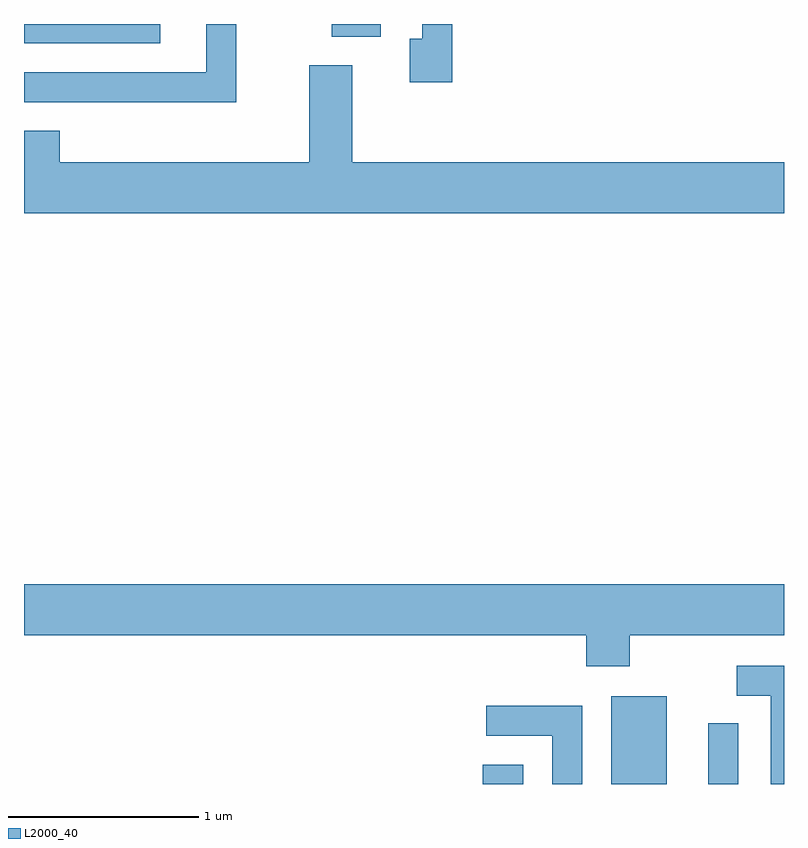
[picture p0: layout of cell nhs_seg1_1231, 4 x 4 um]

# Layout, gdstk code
import gdstk
lib = gdstk.Library(unit=1e-6, precision=1e-09)
def R(c, l, rs):  # rectangles x0, y0, x1, y1
    for r in rs: c.add(gdstk.rectangle(r[:2], r[2:], *l))
def P(c, l, *ps):  # polygons
    for p in ps: c.add(gdstk.Polygon(p, *l))
L2000_40 = (2000, 40)

nhs_seg1_1231 = lib.new_cell('nhs_seg1_1231')
R(nhs_seg1_1231, L2000_40, [(226.026,867.712,226.239,867.814), (226.701,867.712,226.994,868.174), (227.211,867.712,227.369,868.033), (223.611,871.611,224.328,871.712), (225.231,871.646,225.489,871.712)])
P(nhs_seg1_1231, L2000_40, [(224.729,871.712),(224.571,871.712),(224.571,871.459),(223.611,871.459),(223.611,871.301),(224.729,871.301)],
  [(225.864,871.712),(225.706,871.712),(225.706,871.634),(225.641,871.634),(225.641,871.406),(225.864,871.406)],
  [(227.611,870.984),(225.339,870.984),(225.339,871.494),(225.111,871.494),(225.111,870.984),(223.799,870.984),(223.799,871.149),(223.611,871.149),(223.611,870.716),(227.611,870.716)],
  [(226.799,868.496),(227.611,868.496),(227.611,868.764),(223.611,868.764),(223.611,868.496),(226.571,868.496),(226.571,868.331),(226.799,868.331)],
  [(227.611,868.334),(227.363,868.334),(227.363,868.176),(227.541,868.176),(227.541,867.712),(227.611,867.712)],
  [(226.549,868.124),(226.043,868.124),(226.043,867.966),(226.391,867.966),(226.391,867.712),(226.549,867.712)])

lib.write_gds('nhs_seg1_1231.gds')
